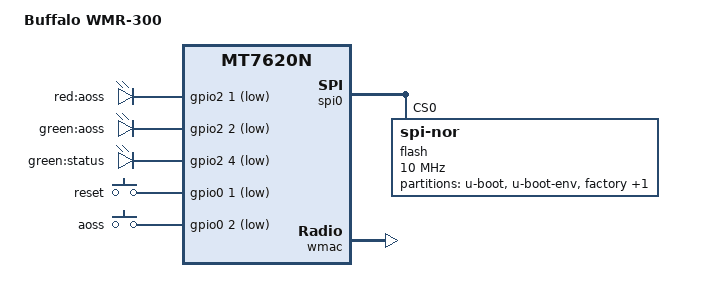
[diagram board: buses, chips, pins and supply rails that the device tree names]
#include "mt7620n.dtsi"

#include <dt-bindings/gpio/gpio.h>
#include <dt-bindings/input/input.h>

/ {
	compatible = "buffalo,wmr-300", "ralink,mt7620n-soc";
	model = "Buffalo WMR-300";

	aliases {
		led-boot = &led_status;
		led-failsafe = &led_status;
		led-running = &led_status;
		led-upgrade = &led_status;
	};

	leds {
		compatible = "gpio-leds";

		aoss1 {
			label = "red:aoss";
			gpios = <&gpio2 1 GPIO_ACTIVE_LOW>;
		};

		aoss2 {
			label = "green:aoss";
			gpios = <&gpio2 2 GPIO_ACTIVE_LOW>;
		};

		led_status: status {
			label = "green:status";
			gpios = <&gpio2 4 GPIO_ACTIVE_LOW>;
		};
	};

	keys {
		compatible = "gpio-keys";

		reset {
			label = "reset";
			gpios = <&gpio0 1 GPIO_ACTIVE_LOW>;
			linux,code = <KEY_RESTART>;
		};

		aoss {
			label = "aoss";
			gpios = <&gpio0 2 GPIO_ACTIVE_LOW>;
			linux,code = <KEY_WPS_BUTTON>;
		};
	};
};

&gpio2 {
	status = "okay";
};

&spi0 {
	status = "okay";

	flash@0 {
		compatible = "jedec,spi-nor";
		reg = <0>;
		spi-max-frequency = <10000000>;

		partitions {
			compatible = "fixed-partitions";
			#address-cells = <1>;
			#size-cells = <1>;

			partition@0 {
				label = "u-boot";
				reg = <0x0 0x30000>;
				read-only;
			};

			partition@30000 {
				label = "u-boot-env";
				reg = <0x30000 0x10000>;
				read-only;
			};

			factory: partition@40000 {
				label = "factory";
				reg = <0x40000 0x10000>;
				read-only;
			};

			partition@50000 {
				compatible = "denx,uimage";
				label = "firmware";
				reg = <0x50000 0x7b0000>;
			};
		};
	};
};

&ethernet {
	nvmem-cells = <&macaddr_factory_4>;
	nvmem-cell-names = "mac-address";

	mediatek,portmap = "wllll";
};

&wmac {
	ralink,mtd-eeprom = <&factory 0x0>;
};

&state_default {
	default {
		groups = "i2c", "ephy";
		function = "gpio";
	};
};

&factory {
	compatible = "nvmem-cells";
	#address-cells = <1>;
	#size-cells = <1>;

	macaddr_factory_4: macaddr@4 {
		reg = <0x4 0x6>;
	};
};
